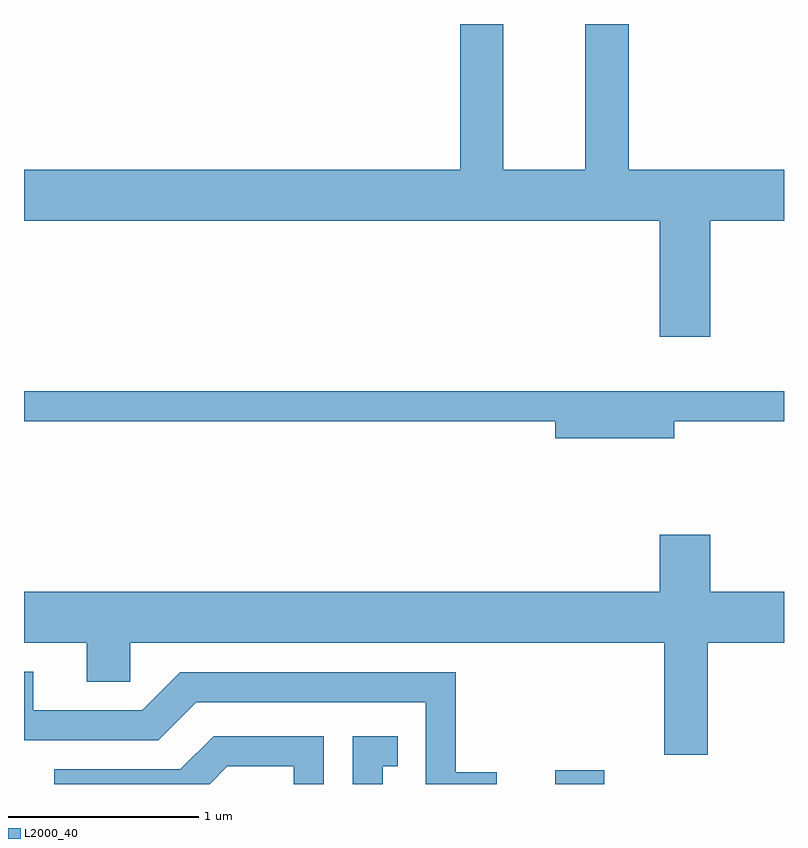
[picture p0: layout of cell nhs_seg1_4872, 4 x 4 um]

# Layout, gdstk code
import gdstk
lib = gdstk.Library(unit=1e-6, precision=1e-09)
def R(c, l, rs):  # rectangles x0, y0, x1, y1
    for r in rs: c.add(gdstk.rectangle(r[:2], r[2:], *l))
def P(c, l, *ps):  # polygons
    for p in ps: c.add(gdstk.Polygon(p, *l))
L2000_40 = (2000, 40)

nhs_seg1_4872 = lib.new_cell('nhs_seg1_4872')
R(nhs_seg1_4872, L2000_40, [(334.406,907.712,334.664,907.784)])
P(nhs_seg1_4872, L2000_40, [(335.224,910.676),(335.611,910.676),(335.611,910.944),(334.794,910.944),(334.794,911.712),(334.566,911.712),(334.566,910.944),(334.134,910.944),(334.134,911.712),(333.906,911.712),(333.906,910.944),(331.611,910.944),(331.611,910.676),(334.956,910.676),(334.956,910.066),(335.224,910.066)],
  [(335.034,909.621),(335.611,909.621),(335.611,909.779),(331.611,909.779),(331.611,909.621),(334.406,909.621),(334.406,909.531),(335.034,909.531)],
  [(335.209,908.456),(335.611,908.456),(335.611,908.724),(335.224,908.724),(335.224,909.024),(334.956,909.024),(334.956,908.724),(331.611,908.724),(331.611,908.456),(331.941,908.456),(331.941,908.251),(332.169,908.251),(332.169,908.456),(334.981,908.456),(334.981,907.866),(335.209,907.866)],
  [(334.099,907.774),(333.884,907.774),(333.884,908.299),(332.434,908.299),(332.234,908.099),(331.659,908.099),(331.659,908.304),(331.611,908.304),(331.611,907.941),(332.317,907.941),(332.517,908.141),(333.726,908.141),(333.726,907.712),(334.099,907.712)],
  [(332.682,907.806),(333.031,907.806),(333.031,907.712),(333.189,907.712),(333.189,907.964),(332.609,907.964),(332.434,907.789),(331.771,907.789),(331.771,907.712),(332.588,907.712)],
  [(333.499,907.806),(333.578,907.806),(333.578,907.964),(333.341,907.964),(333.341,907.712),(333.499,907.712)])

lib.write_gds('nhs_seg1_4872.gds')
